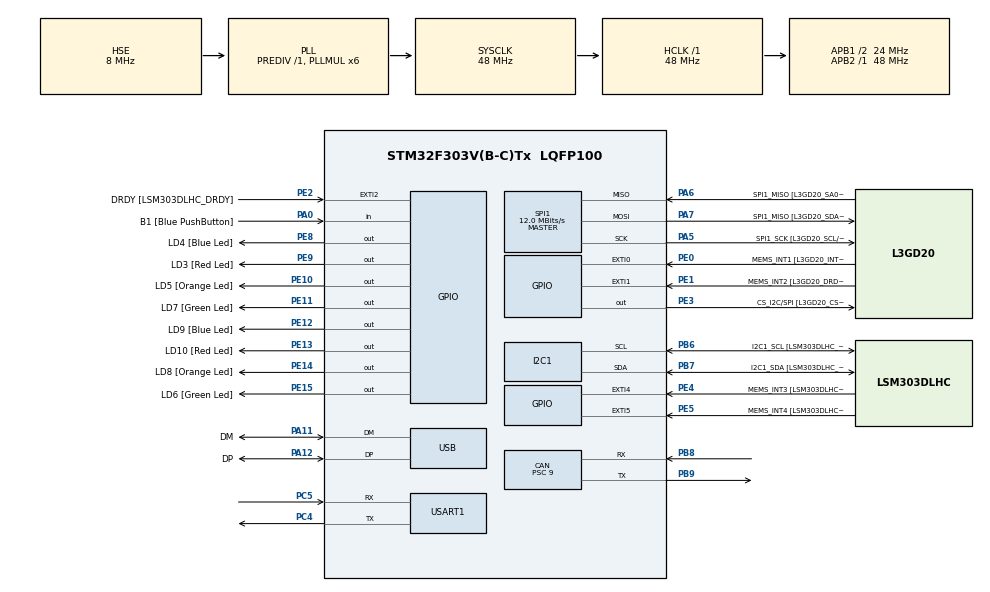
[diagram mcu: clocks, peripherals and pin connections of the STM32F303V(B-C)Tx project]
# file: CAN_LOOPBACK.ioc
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CAN.BS1=CAN_BS1_3TQ
CAN.BS2=CAN_BS2_4TQ
CAN.CalculateBaudRate=333333
CAN.CalculateTimeBit=3000
CAN.CalculateTimeQuantum=375.0
CAN.Mode=CAN_MODE_LOOPBACK
CAN.Prescaler=9
I2C1.Timing=0x2000090E
I2C1.Timing-I2C=0x2000090E
Mcu.Family=STM32F3
Mcu.Name=STM32F303V(B-C)Tx
Mcu.Package=LQFP100
NVIC.PriorityGroup=NVIC_PRIORITYGROUP_0
NVIC.USB_LP_CAN_RX0_IRQn=true\:0\:0\:false\:false\:true\:true\:true\:true
PA0.GPIO_Label=B1 [Blue PushButton]
PA0.Signal=GPIO_Input
PA11.GPIO_Label=DM
PA11.Mode=Device
PA11.Signal=USB_DM
PA12.GPIO_Label=DP
PA12.Mode=Device
PA12.Signal=USB_DP
PA13.GPIO_Label=SWDIO
PA13.Mode=Serial_Wire
PA13.Signal=SYS_JTMS-SWDIO
PA14.GPIO_Label=SWCLK
PA14.Mode=Serial_Wire
PA14.Signal=SYS_JTCK-SWCLK
PA5.GPIO_Label=SPI1_SCK [L3GD20_SCL/SPC]
PA5.Mode=Full_Duplex_Master
PA5.Signal=SPI1_SCK
PA6.GPIO_Label=SPI1_MISO [L3GD20_SA0/SDO]
PA6.Mode=Full_Duplex_Master
PA6.Signal=SPI1_MISO
PA7.GPIO_Label=SPI1_MISO [L3GD20_SDA/SDI/SDO]
PA7.Mode=Full_Duplex_Master
PA7.Signal=SPI1_MOSI
PB3.GPIO_Label=SWO
PB3.Signal=SYS_JTDO-TRACESWO
PB6.GPIO_Label=I2C1_SCL [LSM303DLHC_SCL]
PB6.GPIO_Pu=GPIO_PULLUP
PB6.Mode=I2C
PB6.Signal=I2C1_SCL
PB7.GPIO_Label=I2C1_SDA [LSM303DLHC_SDA]
PB7.GPIO_Pu=GPIO_PULLUP
PB7.Mode=I2C
PB7.Signal=I2C1_SDA
PB8.Mode=CAN_Activate
PB8.Signal=CAN_RX
PB9.Mode=CAN_Activate
PB9.Signal=CAN_TX
PC14-OSC32_IN.GPIO_Label=OSC32_IN
PC14-OSC32_IN.Signal=RCC_OSC32_IN
PC15-OSC32_OUT.GPIO_Label=OSC32_OUT
PC15-OSC32_OUT.Signal=RCC_OSC32_OUT
PC4.Mode=Asynchronous
PC4.Signal=USART1_TX
PC5.Mode=Asynchronous
PC5.Signal=USART1_RX
PE0.GPIO_Label=MEMS_INT1 [L3GD20_INT1]
PE0.GPIO_ModeDefaultEXTI=GPIO_MODE_EVT_RISING
PE0.Signal=GPXTI0
PE1.GPIO_Label=MEMS_INT2 [L3GD20_DRDY/INT2]
PE1.GPIO_ModeDefaultEXTI=GPIO_MODE_EVT_RISING
PE1.Signal=GPXTI1
PE10.GPIO_Label=LD5 [Orange Led]
PE10.Signal=GPIO_Output
PE11.GPIO_Label=LD7 [Green Led]
PE11.Signal=GPIO_Output
PE12.GPIO_Label=LD9 [Blue Led]
PE12.Signal=GPIO_Output
PE13.GPIO_Label=LD10 [Red Led]
PE13.Signal=GPIO_Output
PE14.GPIO_Label=LD8 [Orange Led]
PE14.Signal=GPIO_Output
PE15.GPIO_Label=LD6 [Green Led]
PE15.Signal=GPIO_Output
PE2.GPIO_Label=DRDY [LSM303DLHC_DRDY]
PE2.GPIO_ModeDefaultEXTI=GPIO_MODE_EVT_RISING
PE2.Signal=GPXTI2
PE3.GPIO_Label=CS_I2C/SPI [L3GD20_CS_I2C/SPI]
PE3.Signal=GPIO_Output
PE4.GPIO_Label=MEMS_INT3 [LSM303DLHC_INT1]
PE4.GPIO_ModeDefaultEXTI=GPIO_MODE_EVT_RISING
PE4.Signal=GPXTI4
PE5.GPIO_Label=MEMS_INT4 [LSM303DLHC_INT2]
PE5.GPIO_ModeDefaultEXTI=GPIO_MODE_EVT_RISING
PE5.Signal=GPXTI5
PE8.GPIO_Label=LD4 [Blue Led]
PE8.Signal=GPIO_Output
PE9.GPIO_Label=LD3 [Red Led]
PE9.Signal=GPIO_Output
PF0-OSC_IN.GPIO_Label=OSC_IN
PF0-OSC_IN.Mode=HSE-External-Clock-Source
PF0-OSC_IN.Signal=RCC_OSC_IN
PF1-OSC_OUT.GPIO_Label=OSC_OUT
PF1-OSC_OUT.Signal=RCC_OSC_OUT
ProjectManager.HeapSize=0x200
ProjectManager.StackSize=0x400
ProjectManager.TargetToolchain=Makefile
RCC.AHBFreq_Value=48000000
RCC.APB1CLKDivider=RCC_HCLK_DIV2
RCC.APB1Freq_Value=24000000
RCC.APB1TimFreq_Value=48000000
RCC.APB2Freq_Value=48000000
RCC.APB2TimFreq_Value=48000000
RCC.CortexFreq_Value=48000000
RCC.HCLKFreq_Value=48000000
RCC.HSE_VALUE=8000000
RCC.HSI_VALUE=8000000
RCC.LSE_VALUE=32768
RCC.PLLMUL=RCC_PLL_MUL6
RCC.SYSCLKFreq_VALUE=48000000
RCC.SYSCLKSourceVirtual=RCC_SYSCLKSOURCE_PLLCLK
RCC.USBFreq_Value=48000000
SPI1.BaudRatePrescaler=SPI_BAUDRATEPRESCALER_4
SPI1.BaudRatePrescaler-Full_Duplex_Master=SPI_BAUDRATEPRESCALER_2
SPI1.CalculateBaudRate=12.0 MBits/s
SPI1.CalculateBaudRate-Full_Duplex_Master=24.0 MBits/s
SPI1.Direction=SPI_DIRECTION_2LINES
SPI1.Mode=SPI_MODE_MASTER
SPI1.Mode-Full_Duplex_Master=SPI_MODE_MASTER
SPI1.VirtualType=VM_MASTER
USART1.VirtualMode-Asynchronous=VM_ASYNC
board=STM32F3DISCOVERY

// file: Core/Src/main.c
/* USER CODE BEGIN Header */
/**
  ******************************************************************************
  * @file           : main.c
  * @brief          : Main program body
  ******************************************************************************
  * @attention
  *
  * Copyright (c) 2022 STMicroelectronics.
  * All rights reserved.
  *
  * This software is licensed under terms that can be found in the LICENSE file
  * in the root directory of this software component.
  * If no LICENSE file comes with this software, it is provided AS-IS.
  *
  ******************************************************************************
  */
/* USER CODE END Header */
#include "main.h"
#include "can.h"
#include "i2c.h"
#include "spi.h"
#include "usart.h"
#include "gpio.h"

/* USER CODE BEGIN PV */

CAN_TxHeaderTypeDef TxHeader;
CAN_RxHeaderTypeDef RxHeader;

uint8_t RxData[8];
uint8_t TxData[8];

CAN_TxMailBox_TypeDef TxMailBox;

int x = 1;

uint8_t MSG[30];

uint32_t no_of_mailboxes = 5;

void HAL_CAN_RxFifo0MsgPendingCallback(CAN_HandleTypeDef *hcan)
{
  HAL_CAN_GetRxMessage(hcan, CAN_RX_FIFO0, &RxHeader, RxData);
  HAL_GPIO_TogglePin(LD4_GPIO_Port, LD4_Pin);
}

/* USER CODE END PV */

void SystemClock_Config(void);

int main(void)
{

  /* MCU Configuration--------------------------------------------------------*/

  /* Reset of all peripherals, Initializes the Flash interface and the Systick. */
  HAL_Init();

  /* Configure the system clock */
  SystemClock_Config();

  /* Initialize all configured peripherals */
  MX_GPIO_Init();
  MX_CAN_Init();
  MX_I2C1_Init();
  MX_SPI1_Init();
  MX_USB_PCD_Init();
  MX_USART1_UART_Init();
  /* USER CODE BEGIN 2 */

  HAL_CAN_Start(&hcan);
  x = HAL_CAN_ActivateNotification(&hcan, CAN_IT_RX_FIFO0_MSG_PENDING);
  if(x == HAL_OK)
  {
    sprintf((char*) MSG, "Notification Setting Success\n");
    HAL_UART_Transmit(&huart1, MSG, sizeof(MSG), 100);
  }
  else
  {
    sprintf((char*) MSG, "Notification Setting Failed\n");
    HAL_UART_Transmit(&huart1, MSG, sizeof(MSG), 100);
  }

  TxHeader.DLC = 1;
  TxHeader.ExtId = 0;
  TxHeader.IDE = CAN_ID_STD;
  TxHeader.RTR = CAN_RTR_DATA;
  TxHeader.StdId = 0x103;
  TxHeader.TransmitGlobalTime = DISABLE;

  TxData[0] = 100;

  /* USER CODE END 2 */

  /* Infinite loop */
  while (1)
  {
    x=1;
    HAL_GPIO_TogglePin(LD9_GPIO_Port,LD9_Pin);
    x = HAL_CAN_AddTxMessage(&hcan, &TxHeader, TxData, &TxMailBox);
    if(x == HAL_OK)
    {
      sprintf((char*) MSG, "Sent Success\n");
      HAL_UART_Transmit(&huart1, MSG, sizeof(MSG), 100);
    }
    else
    {
      sprintf((char*) MSG, "Sent Failed\n");
      HAL_UART_Transmit(&huart1, MSG, sizeof(MSG), 100);
    }
    no_of_mailboxes = HAL_CAN_GetTxMailboxesFreeLevel(&hcan);
    sprintf((char*) MSG, "free Tx mailboxes = %d\r\n", no_of_mailboxes);
    HAL_UART_Transmit(&huart1, MSG, sizeof(MSG), 100);
    sprintf((char*) MSG, "STD.ID = %d\r\n", RxHeader.StdId);
    HAL_UART_Transmit(&huart1, MSG, sizeof(MSG), 100);
    sprintf((char*) MSG, "Received Data = %d\r\n", RxData[0]);
    HAL_UART_Transmit(&huart1, MSG, sizeof(MSG), 100);
    HAL_Delay(1000);

  }
}

void SystemClock_Config(void)
{
  RCC_OscInitTypeDef RCC_OscInitStruct = {0};
  RCC_ClkInitTypeDef RCC_ClkInitStruct = {0};
  RCC_PeriphCLKInitTypeDef PeriphClkInit = {0};

  /** Initializes the RCC Oscillators according to the specified parameters
  * in the RCC_OscInitTypeDef structure.
  */
  RCC_OscInitStruct.OscillatorType = RCC_OSCILLATORTYPE_HSI|RCC_OSCILLATORTYPE_HSE;
  RCC_OscInitStruct.HSEState = RCC_HSE_BYPASS;
  RCC_OscInitStruct.HSEPredivValue = RCC_HSE_PREDIV_DIV1;
  RCC_OscInitStruct.HSIState = RCC_HSI_ON;
  RCC_OscInitStruct.HSICalibrationValue = RCC_HSICALIBRATION_DEFAULT;
  RCC_OscInitStruct.PLL.PLLState = RCC_PLL_ON;
  RCC_OscInitStruct.PLL.PLLSource = RCC_PLLSOURCE_HSE;
  RCC_OscInitStruct.PLL.PLLMUL = RCC_PLL_MUL6;
  if (HAL_RCC_OscConfig(&RCC_OscInitStruct) != HAL_OK)
  {
    Error_Handler();
  }

  /** Initializes the CPU, AHB and APB buses clocks
  */
  RCC_ClkInitStruct.ClockType = RCC_CLOCKTYPE_HCLK|RCC_CLOCKTYPE_SYSCLK
                              |RCC_CLOCKTYPE_PCLK1|RCC_CLOCKTYPE_PCLK2;
  RCC_ClkInitStruct.SYSCLKSource = RCC_SYSCLKSOURCE_PLLCLK;
  RCC_ClkInitStruct.AHBCLKDivider = RCC_SYSCLK_DIV1;
  RCC_ClkInitStruct.APB1CLKDivider = RCC_HCLK_DIV2;
  RCC_ClkInitStruct.APB2CLKDivider = RCC_HCLK_DIV1;

  if (HAL_RCC_ClockConfig(&RCC_ClkInitStruct, FLASH_LATENCY_1) != HAL_OK)
  {
    Error_Handler();
  }
  PeriphClkInit.PeriphClockSelection = RCC_PERIPHCLK_USB|RCC_PERIPHCLK_USART1
                              |RCC_PERIPHCLK_I2C1;
  PeriphClkInit.Usart1ClockSelection = RCC_USART1CLKSOURCE_PCLK2;
  PeriphClkInit.I2c1ClockSelection = RCC_I2C1CLKSOURCE_HSI;
  PeriphClkInit.USBClockSelection = RCC_USBCLKSOURCE_PLL;
  if (HAL_RCCEx_PeriphCLKConfig(&PeriphClkInit) != HAL_OK)
  {
    Error_Handler();
  }
}

void Error_Handler(void)
{
  __disable_irq();
  while (1)
  {
  }
}
